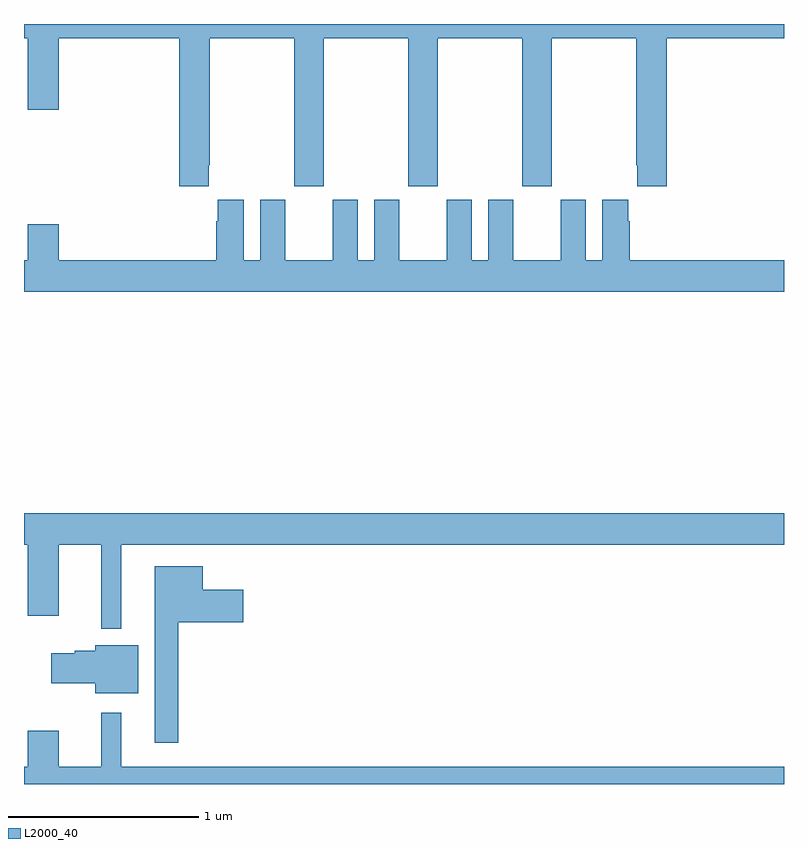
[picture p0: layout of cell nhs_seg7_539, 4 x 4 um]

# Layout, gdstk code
import gdstk
lib = gdstk.Library(unit=1e-6, precision=1e-09)
def P(c, l, *ps):  # polygons
    for p in ps: c.add(gdstk.Polygon(p, *l))
L2000_40 = (2000, 40)

nhs_seg7_539 = lib.new_cell('nhs_seg7_539')
P(nhs_seg7_539, L2000_40, [(153,1025.924),(153.02,1025.924),(153.02,1025.55),(153.184,1025.55),(153.184,1025.924),(153.818,1025.924),(153.818,1025.145),(153.973,1025.145),(153.973,1025.257),(153.978,1025.257),(153.978,1025.924),(154.423,1025.924),(154.423,1025.145),(154.578,1025.145),(154.578,1025.924),(155.023,1025.924),(155.023,1025.145),(155.178,1025.145),(155.178,1025.924),(155.623,1025.924),(155.623,1025.145),(155.778,1025.145),(155.778,1025.924),(156.223,1025.924),(156.223,1025.257),(156.227,1025.257),(156.227,1025.145),(156.383,1025.145),(156.383,1025.924),(157,1025.924),(157,1026),(153,1026)],
  [(157,1024.756),(156.188,1024.756),(156.188,1024.961),(156.181,1024.961),(156.181,1025.074),(156.044,1025.074),(156.044,1024.756),(155.956,1024.756),(155.956,1025.074),(155.825,1025.074),(155.825,1024.756),(155.575,1024.756),(155.575,1025.074),(155.444,1025.074),(155.444,1024.756),(155.356,1024.756),(155.356,1025.074),(155.225,1025.074),(155.225,1024.756),(154.975,1024.756),(154.975,1025.074),(154.844,1025.074),(154.844,1024.756),(154.756,1024.756),(154.756,1025.074),(154.625,1025.074),(154.625,1024.756),(154.375,1024.756),(154.375,1025.074),(154.244,1025.074),(154.244,1024.756),(154.156,1024.756),(154.156,1025.074),(154.019,1025.074),(154.019,1024.961),(154.013,1024.961),(154.013,1024.756),(153.184,1024.756),(153.184,1024.945),(153.02,1024.945),(153.02,1024.756),(153,1024.756),(153,1024.592),(157,1024.592)],
  [(153.511,1023.26),(157,1023.26),(157,1023.424),(153,1023.424),(153,1023.26),(153.02,1023.26),(153.02,1022.886),(153.184,1022.886),(153.184,1023.26),(153.407,1023.26),(153.407,1022.816),(153.511,1022.816)],
  [(153.811,1022.852),(154.153,1022.852),(154.153,1023.022),(153.94,1023.022),(153.94,1023.145),(153.689,1023.145),(153.689,1022.217),(153.811,1022.217)],
  [(153.601,1022.731),(153.374,1022.731),(153.374,1022.702),(153.267,1022.702),(153.267,1022.689),(153.144,1022.689),(153.144,1022.531),(153.374,1022.531),(153.374,1022.477),(153.601,1022.477)],
  [(157,1022.092),(153.511,1022.092),(153.511,1022.374),(153.407,1022.374),(153.407,1022.092),(153.184,1022.092),(153.184,1022.281),(153.02,1022.281),(153.02,1022.092),(153,1022.092),(153,1022),(157,1022)])

lib.write_gds('nhs_seg7_539.gds')
